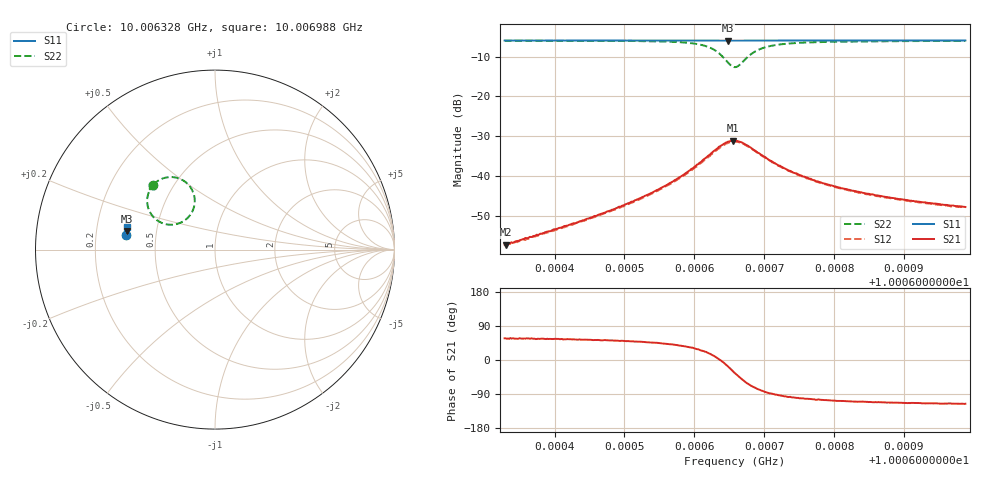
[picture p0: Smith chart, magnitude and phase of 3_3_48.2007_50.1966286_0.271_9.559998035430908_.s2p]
#  HZ  S  RI  R  50.00
! Rohde & Schwarz Vector Network Analyzer
! Rohde-Schwarz,ZNB20-2Port,1311601062101988,3.16
! Created: UTC 3/20/2024, 11:36:08 AM
! freq[Hz]  re:S11  im:S11  re:S21  im:S21  re:S12  im:S12  re:S22  im:S22
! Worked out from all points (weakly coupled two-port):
!   401 points, 10.006328 GHz to 10.006988 GHz, reference 50 ohm
!   highest |S21| = -31.07 dB at 10.006655 GHz (marker M1); lowest = -57.2 dB at 10.00633 GHz (marker M2)
!   lowest |S11| = -6.0 dB at 10.006648 GHz (marker M3), VSWR 3.00, Z = 16.8 + j4.65 ohm
!   |S11| at or under -10 dB: nowhere
!   |S22| runs from -12.7 to -6.0 dB; largest |S21 - S12| = 0.0023
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1.00063284e10  -0.4954 0.0834  0.000753 0.00117  0.000672 0.00114  -0.3451 0.3623
1.00063301e10  -0.4955 0.0835  0.00075 0.00117  0.000678 0.00118  -0.3449 0.3623
1.00064389e10  -0.4943 0.0909  0.00164 0.00222  0.00149 0.00227  -0.3294 0.3755
1.00064999e10  -0.4935 0.0949  0.00279 0.00334  0.00259 0.00338  -0.3133 0.3863
1.00065494e10  -0.4928 0.0981  0.0049 0.00484  0.00457 0.00494  -0.288 0.3974
1.00065823e10  -0.4921 0.1004  0.00808 0.00611  0.00755 0.00633  -0.2541 0.4038
1.00066153e10  -0.491 0.1027  0.0155 0.00622  0.0147 0.0068  -0.1846 0.3892
1.00066318e10  -0.4901 0.1037  0.0218 0.00247  0.0209 0.00362  -0.1334 0.3424
1.00066417e10  -0.4897 0.1038  0.0252 -0.00285  0.0245 -0.00143  -0.1135 0.2861
1.00066483e10  -0.4891 0.1037  0.0259 -0.00802  0.0255 -0.0062  -0.1168 0.2383
1.00066549e10  -0.4892 0.1036  0.0245 -0.0135  0.0245 -0.0114  -0.1396 0.1911
1.00066582e10  -0.4893 0.1035  0.0229 -0.016  0.0234 -0.0139  -0.1576 0.1716
1.00066631e10  -0.4895 0.1035  0.0201 -0.0186  0.0208 -0.0169  -0.1903 0.1506
1.0006673e10  -0.4898 0.1038  0.0133 -0.0213  0.0144 -0.02  -0.2587 0.1392
1.00066862e10  -0.4905 0.1045  0.00632 -0.0201  0.00738 -0.0196  -0.3238 0.1641
1.00066994e10  -0.4907 0.1053  0.00216 -0.0176  0.00317 -0.0173  -0.3565 0.1989
1.00067324e10  -0.491 0.108  -0.00147 -0.0121  -0.000688 -0.0121  -0.3776 0.2605
1.00067687e10  -0.4906 0.1107  -0.00207 -0.00879  -0.00172 -0.00877  -0.3758 0.2951
1.00068231e10  -0.4901 0.1143  -0.0022 -0.00631  -0.00187 -0.00632  -0.3682 0.3211
1.00068791e10  -0.4895 0.118  -0.00207 -0.00501  -0.00175 -0.00503  -0.3612 0.3358
1.00069286e10  -0.4887 0.1211  -0.00192 -0.00428  -0.00168 -0.00426  -0.356 0.3445
1.0006988e10  -0.4879 0.1249  -0.00177 -0.00371  -0.00157 -0.00372  -0.3506 0.3523
